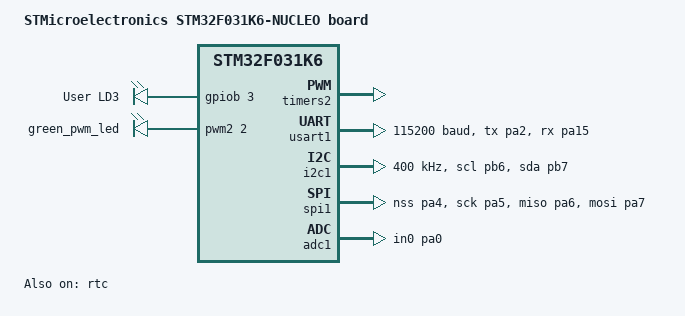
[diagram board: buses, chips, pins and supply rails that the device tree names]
/*
 * Copyright (c) 2021 Sebastian Schwabe <sebastian.schwabe@mailbox.tu-dresden.de>
 *
 * SPDX-License-Identifier: Apache-2.0
 */

/dts-v1/;
#include <st/f0/stm32f031X6.dtsi>
#include <st/f0/stm32f031k6tx-pinctrl.dtsi>

/ {
	model = "STMicroelectronics STM32F031K6-NUCLEO board";
	compatible = "st,stm32f031k6-nucleo";

	chosen {
		zephyr,console = &usart1;
		zephyr,shell-uart = &usart1;
		zephyr,sram = &sram0;
		zephyr,flash = &flash0;
	};

	leds {
		compatible = "gpio-leds";
		green_led_3: led_3 {
			gpios = <&gpiob 3 GPIO_ACTIVE_HIGH>;
			label = "User LD3";
		};
	};

	pwmleds {
		compatible = "pwm-leds";
		green_pwm_led: green_pwm_led {
			pwms = <&pwm2 2 PWM_MSEC(20) PWM_POLARITY_NORMAL>;
		};
	};

	aliases {
		led0 = &green_led_3;
		pwm-led0 = &green_pwm_led;
	};
};

&clk_lsi {
	status = "okay";
};

&clk_hsi {
	status = "okay";
};

&pll {
	prediv = <4>;
	mul = <12>;
	clocks = <&clk_hsi>;
	status = "okay";
};

&rcc {
	clocks = <&pll>;
	clock-frequency = <DT_FREQ_M(48)>;
	ahb-prescaler = <1>;
	apb1-prescaler = <1>;
};

/* Due to limited available memory, don't enable gpiod and gpiof */
/* (Test cases fail due to 'SRAM' region overflow) */
&gpiod {status = "disabled";};
&gpiof {status = "disabled";};

&timers2 {
	status = "okay";

	pwm2: pwm {
		status = "okay";
		pinctrl-0 = <&tim2_ch2_pb3>;
		pinctrl-names = "default";
	};
};

&usart1 {
	pinctrl-0 = <&usart1_tx_pa2 &usart1_rx_pa15>;
	pinctrl-names = "default";
	current-speed = <115200>;
	status = "okay";
};

&i2c1 {
	pinctrl-0 = <&i2c1_scl_pb6 &i2c1_sda_pb7>;
	pinctrl-names = "default";
	status = "okay";
	clock-frequency = <I2C_BITRATE_FAST>;
};

&spi1 {
	pinctrl-0 = <&spi1_nss_pa4 &spi1_sck_pa5
		     &spi1_miso_pa6 &spi1_mosi_pa7>;
	pinctrl-names = "default";
	status = "okay";
};

&adc1 {
	pinctrl-0 = <&adc_in0_pa0>;
	pinctrl-names = "default";
	status = "okay";
};

&rtc {
	clocks = <&rcc STM32_CLOCK_BUS_APB1 0x10000000>,
		 <&rcc STM32_SRC_LSI RTC_SEL(2)>;
	status = "okay";
};
